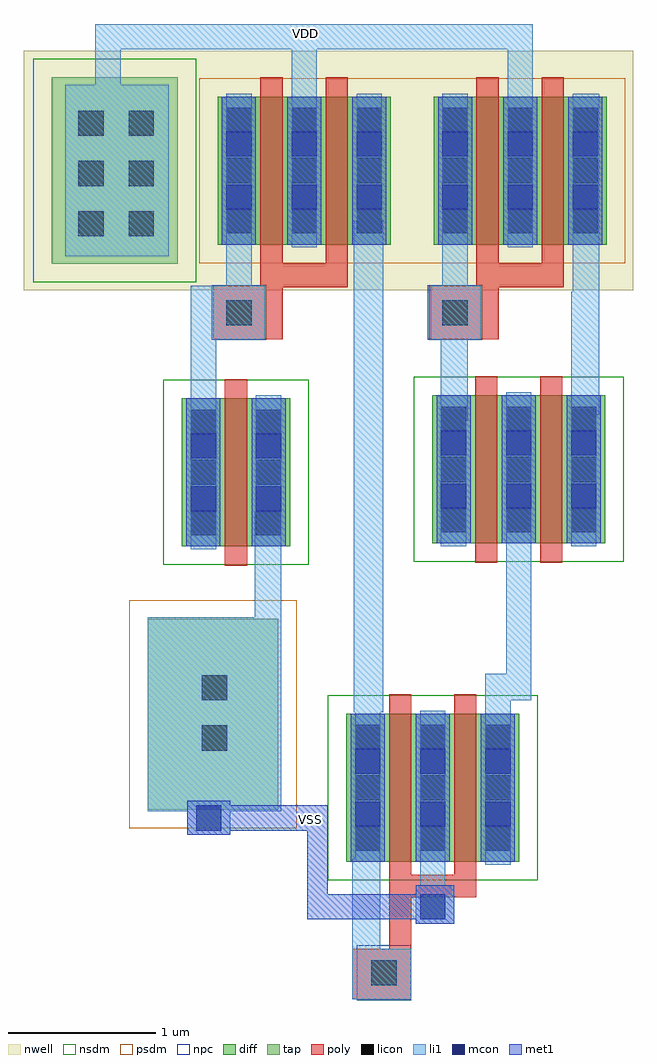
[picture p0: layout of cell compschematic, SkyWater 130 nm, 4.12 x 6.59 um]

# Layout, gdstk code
from math import pi, radians
import gdstk
lib = gdstk.Library(unit=1e-6, precision=1e-09)
def R(c, l, rs):  # rectangles x0, y0, x1, y1
    for r in rs: c.add(gdstk.rectangle(r[:2], r[2:], *l))
def A(c, l, x, y, w, h, nx, ny, dx, dy):  # array of equal rectangles
    R(c, l, [(x+i*dx, y+j*dy, x+i*dx+w, y+j*dy+h) for i in range(nx) for j in range(ny)])
nwell = (64, 20)
diff = (65, 20)
tap = (65, 44)
poly = (66, 20)
licon = (66, 44)
li1 = (67, 20)
mcon = (67, 44)
met1 = (68, 20)
nsdm = (93, 44)
psdm = (94, 20)
npc = (95, 20)

sky130_fd_pr__nfet_01v8_ = lib.new_cell('sky130_fd_pr__nfet_01v8_4WGS5P')
R(sky130_fd_pr__nfet_01v8_, diff, [(-0.365,-0.5,0.365,0.5)])
R(sky130_fd_pr__nfet_01v8_, poly, [(-0.075,-0.63,0.075,0.63)])
A(sky130_fd_pr__nfet_01v8_, licon, -0.305, -0.425, 0.17, 0.17, 1, 3, 0, 0.34)
A(sky130_fd_pr__nfet_01v8_, licon, 0.135, -0.425, 0.17, 0.17, 1, 3, 0, 0.34)
R(sky130_fd_pr__nfet_01v8_, li1, [(-0.305,-0.52,-0.135,0.52), (0.135,-0.52,0.305,0.52)])
R(sky130_fd_pr__nfet_01v8_, mcon, [(-0.305,-0.265,-0.135,-0.095), (0.135,-0.265,0.305,-0.095), (-0.305,0.095,-0.135,0.265), (0.135,0.095,0.305,0.265)])
R(sky130_fd_pr__nfet_01v8_, met1, [(-0.335,-0.5,-0.105,0.5), (0.105,-0.5,0.335,0.5)])
R(sky130_fd_pr__nfet_01v8_, nsdm, [(-0.49,-0.625,0.49,0.625)])

sky130_fd_pr__pfet_01v8_ = lib.new_cell('sky130_fd_pr__pfet_01v8_2DBLHN')
R(sky130_fd_pr__pfet_01v8_, nwell, [(-0.545,-0.81,0.545,0.81)])
R(sky130_fd_pr__pfet_01v8_, diff, [(-0.365,-0.5,0.365,0.5)])
R(sky130_fd_pr__pfet_01v8_, poly, [(-0.075,-0.63,0.075,0.63)])
A(sky130_fd_pr__pfet_01v8_, licon, -0.305, -0.425, 0.17, 0.17, 1, 3, 0, 0.34)
A(sky130_fd_pr__pfet_01v8_, licon, 0.135, -0.425, 0.17, 0.17, 1, 3, 0, 0.34)
R(sky130_fd_pr__pfet_01v8_, li1, [(-0.305,-0.52,-0.135,0.52), (0.135,-0.52,0.305,0.52)])
R(sky130_fd_pr__pfet_01v8_, mcon, [(-0.305,-0.265,-0.135,-0.095), (0.135,-0.265,0.305,-0.095), (-0.305,0.095,-0.135,0.265), (0.135,0.095,0.305,0.265)])
R(sky130_fd_pr__pfet_01v8_, met1, [(-0.335,-0.5,-0.105,0.5), (0.105,-0.5,0.335,0.5)])
R(sky130_fd_pr__pfet_01v8_, psdm, [(-0.49,-0.625,0.49,0.625)])

c_sky130_fd_pr__nfet_01v8_ = lib.new_cell('sky130_fd_pr__nfet_01v8_4WGS9P')
R(c_sky130_fd_pr__nfet_01v8_, diff, [(-0.365,-0.5,0.365,0.5)])
R(c_sky130_fd_pr__nfet_01v8_, poly, [(-0.075,-0.63,0.075,0.63)])
A(c_sky130_fd_pr__nfet_01v8_, licon, -0.305, -0.425, 0.17, 0.17, 1, 3, 0, 0.34)
A(c_sky130_fd_pr__nfet_01v8_, licon, 0.135, -0.425, 0.17, 0.17, 1, 3, 0, 0.34)
R(c_sky130_fd_pr__nfet_01v8_, li1, [(-0.305,-0.52,-0.135,0.52), (0.135,-0.52,0.305,0.52)])
R(c_sky130_fd_pr__nfet_01v8_, mcon, [(-0.305,-0.265,-0.135,-0.095), (0.135,-0.265,0.305,-0.095), (-0.305,0.095,-0.135,0.265), (0.135,0.095,0.305,0.265)])
R(c_sky130_fd_pr__nfet_01v8_, met1, [(-0.335,-0.5,-0.105,0.5), (0.105,-0.5,0.335,0.5)])
R(c_sky130_fd_pr__nfet_01v8_, nsdm, [(-0.49,-0.625,0.49,0.625)])

compschematic = lib.new_cell('compschematic')
R(compschematic, nwell, [(-1.57,3,-0.34,4.62), (1.17,3,2.08,3.18), (0.03,3.02,0.62,3.18), (-0.2,3.18,-0.03,3.29), (1.26,3.18,1.43,3.29)])
R(compschematic, tap, [(-0.73,-0.51,0.15,0.78), (-1.38,3.18,-0.53,4.44)])
R(compschematic, poly, [(0.65,-1.79,1.05,-1.45), (0.9,-1.45,1.05,-1.1), (0.9,-1.1,1.49,-0.95), (0.9,-0.95,1.05,-0.93), (-0.29,2.67,0.18,3.02), (1.17,2.67,1.64,3.02), (-0.29,3.02,0.62,3.03), (1.17,3.02,2.08,3.03), (0.03,3.03,0.62,3.18), (1.49,3.03,2.08,3.18)])
A(compschematic, licon, -1.2, 3.365, 0.17, 0.17, 1, 3, 0, 0.34)
A(compschematic, licon, -0.86, 3.365, 0.17, 0.17, 1, 3, 0, 0.34)
R(compschematic, licon, [(0.78,-1.695,0.95,-1.525), (-0.365,-0.11,-0.195,0.06), (-0.365,0.23,-0.195,0.4), (-0.2,2.765,-0.03,2.935), (1.26,2.765,1.43,2.935)])
R(compschematic, li1, [(0.65,-1.79,1.05,-1.45), (0.65,-1.45,0.84,-0.84), (1.08,-1.28,1.34,-1.02), (1.11,-1.02,1.28,-0.88), (-0.465,-0.68,-0.175,-0.52), (-0.73,-0.52,0.17,0.79), (1.55,0.11,1.72,0.23), (0.66,0.15,0.86,3.47), (1.55,0.23,1.86,0.41), (1.69,0.41,1.86,1.28), (-0.01,0.79,0.17,1.5), (1.25,2.12,1.43,2.67), (2.13,2.16,2.32,2.99), (-0.44,2.29,-0.27,2.67), (-0.44,2.67,0.06,3.03), (1.18,2.67,1.52,3.03), (2.14,2.99,2.32,4.33), (-0.2,3.03,-0.03,3.29), (1.26,3.03,1.43,3.29), (-1.29,3.23,-0.59,4.39), (0.24,4.27,0.41,4.63), (1.7,4.28,1.87,4.63), (-1.085,4.39,-0.915,4.63), (-1.085,4.63,1.87,4.8)])
R(compschematic, mcon, [(1.11,-1.25,1.28,-1.08), (-0.405,-0.65,-0.235,-0.48)])
R(compschematic, met1, [(1.08,-1.28,1.34,-1.25), (0.345,-1.25,1.34,-1.08), (0.345,-1.08,0.485,-0.65), (1.08,-1.08,1.34,-1.02), (-0.465,-0.68,-0.175,-0.65), (-0.465,-0.65,0.485,-0.48), (-0.465,-0.48,-0.175,-0.45)])
R(compschematic, nsdm, [(-1.505,3.055,-0.405,4.565)])
R(compschematic, psdm, [(-0.855,-0.635,0.275,0.905), (1.035,3.185,1.075,4.435)])
R(compschematic, npc, [(0.68,-1.795,1.05,-1.425), (-0.3,2.665,0.07,3.035), (1.16,2.665,1.53,3.035)])
compschematic.add(gdstk.Reference(sky130_fd_pr__nfet_01v8_, (0.975,-0.36), rotation=pi, x_reflection=True))
compschematic.add(gdstk.Reference(sky130_fd_pr__pfet_01v8_, (1.565,3.81), rotation=pi, x_reflection=True))
compschematic.add(gdstk.Reference(sky130_fd_pr__nfet_01v8_, (1.995,1.79)))
compschematic.add(gdstk.Reference(c_sky130_fd_pr__nfet_01v8_, (1.555,1.79), rotation=pi, x_reflection=True))
compschematic.add(gdstk.Reference(sky130_fd_pr__nfet_01v8_, (-0.135,1.77), rotation=pi, x_reflection=True))
compschematic.add(gdstk.Reference(sky130_fd_pr__pfet_01v8_, (0.105,3.81), rotation=pi, x_reflection=True))
compschematic.add(gdstk.Reference(sky130_fd_pr__pfet_01v8_, (0.545,3.81)))
compschematic.add(gdstk.Reference(sky130_fd_pr__pfet_01v8_, (2.005,3.81)))
compschematic.add(gdstk.Reference(sky130_fd_pr__nfet_01v8_, (1.415,-0.36)))
compschematic.add(gdstk.Label('VDD', (0.335,4.735), layer=67, texttype=5))
compschematic.add(gdstk.Label('VSS', (0.365,-0.575), layer=68, texttype=5))

lib.write_gds('compschematic.gds')
